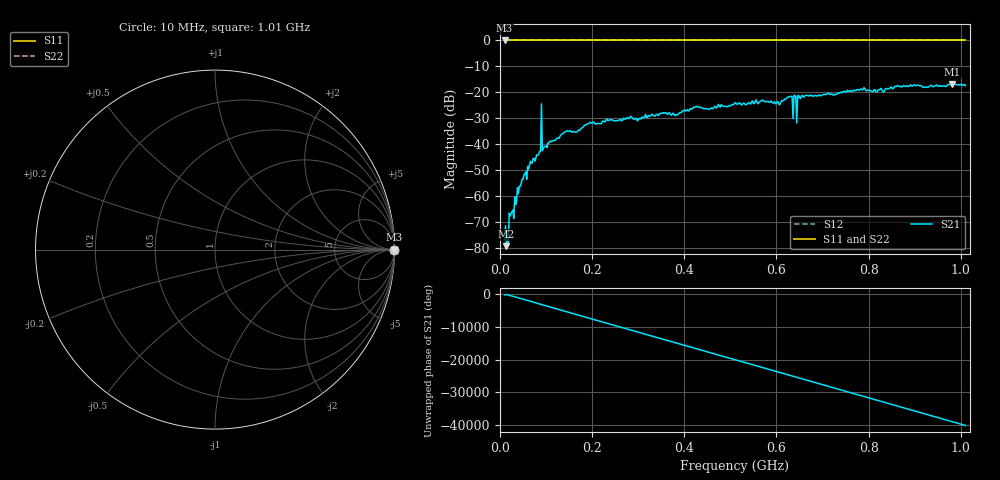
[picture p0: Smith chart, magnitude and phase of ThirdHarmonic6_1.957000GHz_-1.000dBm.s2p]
! 8/16/2025 11:33:38 PM
! C:\ANRITSUVNA\TEMP\TEMP.S2P
! CHANNEL.1
! TR.MEASUREMENT
! RAW.DATA
! RF.CORRECTION.OFF
! AVERAGING.OFF
! IF.BANDWIDTH: 5KHZ
! SWEEPTYPE:  FREQ.SWEEP(Linear)
! Reference Plane Port Info
! PORT:  PORT1  PORT2
! DISTANCE:  0  m  0  m
! TIME:  0  s  0  s
! PHASE.OFFSET:  0  deg.  0  deg.
! LOSS:  0  dB  0  dB
! REF.LOSS:  0  dB  0  dB
! REF.FREQ:  0  Hz  0  Hz
! Power Info
! POWER:  -20  dBm  -20  dBm
! EFF.POWER:  -20  dBm  -20  dBm
! SOURCE.ATTEN:  0  dB  0  dB
! TEST.ATTEN:  0  dB  0  dB
# GHZ S RI R 50.0
! FREQ.GHZ  S11RE  S11IM  S21RE  S21IM  S12RE  S12IM  S22RE  S22IM
!; PortSelection: Port_12
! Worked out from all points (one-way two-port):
!   501 points, 10 MHz to 1.01 GHz, reference 50 ohm
!   highest |S21| = -16.78 dB at 982 MHz (marker M1); lowest = -79.4 dB at 14 MHz (marker M2)
!   lowest |S11| = 0.0 dB at 10 MHz (marker M3)
!   |S11| at or under -10 dB: nowhere
!   |S22| runs from 0.0 to 0.0 dB; largest |S21 - S12| = 1.1
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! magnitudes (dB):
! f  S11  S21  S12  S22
! 10 MHz  0.0  -76.8  0.0  0.0
! 14 MHz  0.0  -79.4  0.0  0.0
! 24 MHz  0.0  -66.7  0.0  0.0
! 32 MHz  0.0  -60.3  0.0  0.0
! 42 MHz  0.0  -56.2  0.0  0.0
! 64 MHz  0.0  -48.3  0.0  0.0
! 84 MHz  0.0  -44.0  0.0  0.0
! 86 MHz  0.0  -42.8  0.0  0.0
! 94 MHz  0.0  -41.4  0.0  0.0
! 96 MHz  0.0  -41.1  0.0  0.0
! 142 MHz  0.0  -35.3  0.0  0.0
! 178 MHz  0.0  -33.8  0.0  0.0
! 344 MHz  0.0  -29.0  0.0  0.0
! 510 MHz  0.0  -24.0  0.0  0.0
! 604 MHz  0.0  -24.0  0.0  0.0
! 630 MHz  0.0  -21.7  0.0  0.0
! 640 MHz  0.0  -21.1  0.0  0.0
! 650 MHz  0.0  -22.1  0.0  0.0
! 678 MHz  0.0  -21.4  0.0  0.0
! 844 MHz  0.0  -18.7  0.0  0.0
! 982 MHz  0.0  -16.8  0.0  0.0
! 1.01 GHz  0.0  -17.4  0.0  0.0
